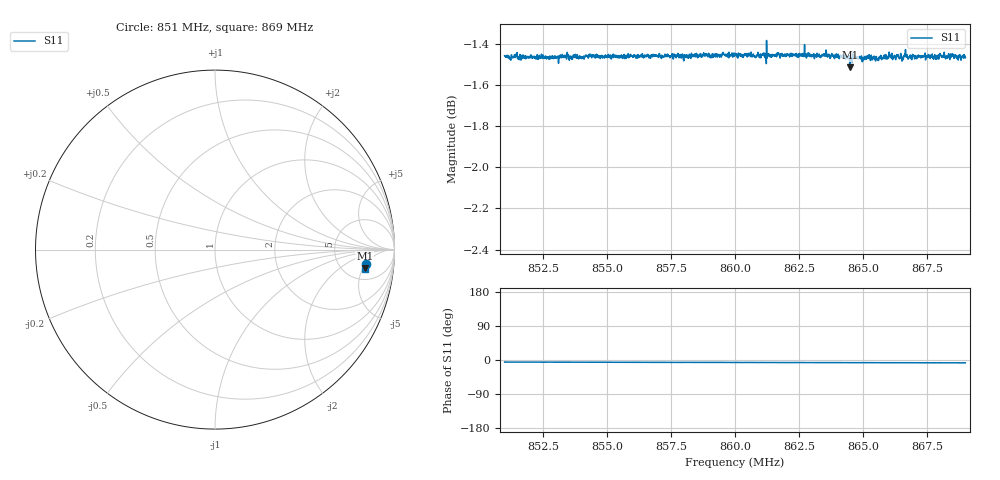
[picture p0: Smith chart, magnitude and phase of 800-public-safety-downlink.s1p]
! Calibrated averaged scanner-service zoom
# Hz S RI R 50
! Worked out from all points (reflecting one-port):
!   2001 points, 851 MHz to 869 MHz, reference 50 ohm
!   lowest |S11| = -1.5 dB at 864.48 MHz (marker M1), VSWR 11.51, Z = 385 - j269 ohm
!   phase of S11 starts at -5 deg and turns -2 deg over the sweep
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8.51e8  0.8417 -0.08
8.51261e8  0.8421 -0.0801
8.51396e8  0.8415 -0.082
8.51585e8  0.8413 -0.0815
8.52053e8  0.8413 -0.0818
8.5325e8  0.8419 -0.0847
8.53394e8  0.8409 -0.0839
8.53817e8  0.8406 -0.0853
8.54582e8  0.8413 -0.0863
8.54825e8  0.8399 -0.0868
8.555e8  0.8409 -0.0885
8.5775e8  0.8407 -0.0908
8.57912e8  0.84 -0.0912
8.58245e8  0.8406 -0.0924
8.6e8  0.8413 -0.0956
8.6225e8  0.8403 -0.0991
8.63312e8  0.8392 -0.1015
8.63492e8  0.8404 -0.1013
8.64482e8  0.8338 -0.1029
8.645e8  0.8391 -0.103
8.64689e8  0.838 -0.1026
8.65607e8  0.8366 -0.1058
8.65796e8  0.8373 -0.1072
8.6675e8  0.8378 -0.1079
8.67056e8  0.838 -0.1084
8.67398e8  0.8384 -0.1072
8.68793e8  0.8375 -0.1115
8.69e8  0.8374 -0.1098
